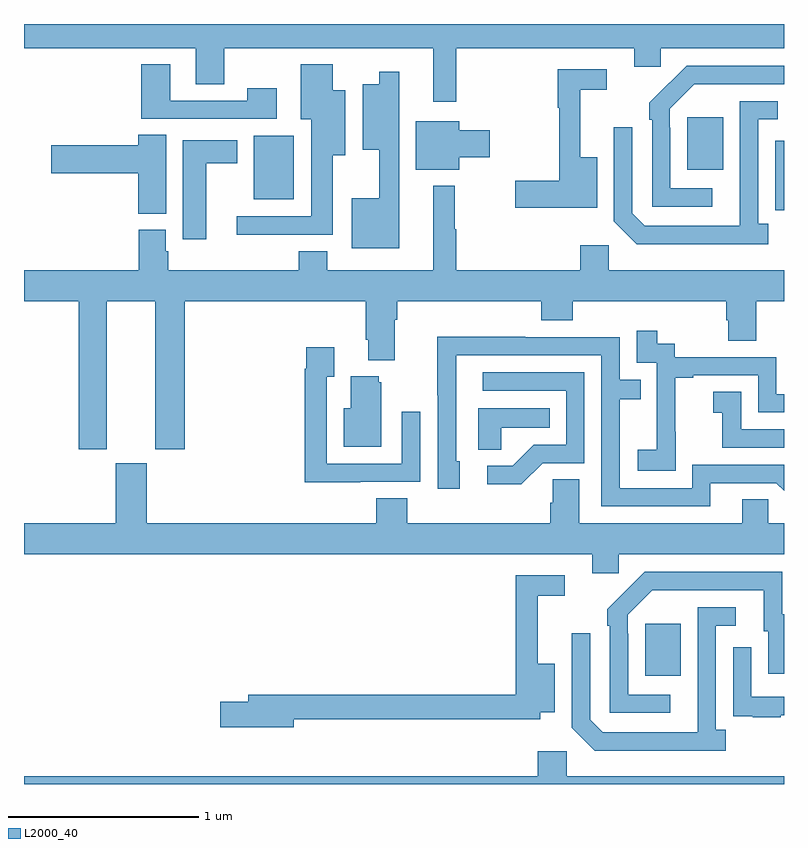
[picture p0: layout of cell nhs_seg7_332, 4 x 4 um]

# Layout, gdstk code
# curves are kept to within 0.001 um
import gdstk
lib = gdstk.Library(unit=1e-6, precision=1e-09)
def R(c, l, rs):  # rectangles x0, y0, x1, y1
    for r in rs: c.add(gdstk.rectangle(r[:2], r[2:], *l))
def P(c, l, *ps):  # polygons
    for p in ps: c.add(gdstk.Polygon(p, *l))
L2000_40 = (2000, 40)

nhs_seg7_332 = lib.new_cell('nhs_seg7_332')
R(nhs_seg7_332, L2000_40, [(138.269,1074.569,138.457,1074.844), (136.208,1077.077,136.42,1077.412), (138.491,1077.233,138.679,1077.508)])
P(nhs_seg7_332, L2000_40, [(135,1077.872),(135.905,1077.872),(135.905,1077.682),(136.053,1077.682),(136.053,1077.872),(137.153,1077.872),(137.153,1077.591),(137.275,1077.591),(137.275,1077.872),(138.212,1077.872),(138.212,1077.774),(138.351,1077.774),(138.351,1077.872),(139,1077.872),(139,1078),(135,1078)],
  [(136.624,1077.308),(136.69,1077.308),(136.69,1077.652),(136.624,1077.652),(136.624,1077.787),(136.457,1077.787),(136.457,1077.5),(136.511,1077.5),(136.511,1076.988),(136.119,1076.988),(136.119,1076.891),(136.624,1076.891)],
  [(136.33,1077.661),(136.174,1077.661),(136.174,1077.597),(135.769,1077.597),(135.769,1077.787),(135.617,1077.787),(135.617,1077.501),(136.33,1077.501)],
  [(138.622,1077.135),(138.402,1077.135),(138.402,1077.455),(138.399,1077.455),(138.399,1077.555),(138.528,1077.684),(139,1077.684),(139,1077.78),(138.488,1077.78),(138.291,1077.585),(138.291,1077.497),(138.306,1077.497),(138.306,1077.039),(138.622,1077.039)],
  [(138.016,1077.298),(137.927,1077.298),(137.927,1077.654),(138.067,1077.654),(138.067,1077.762),(137.809,1077.762),(137.809,1077.559),(137.817,1077.559),(137.817,1077.176),(137.586,1077.176),(137.586,1077.034),(138.016,1077.034)],
  [(136.975,1077.748),(136.871,1077.748),(136.871,1077.682),(136.784,1077.682),(136.784,1077.338),(136.871,1077.338),(136.871,1077.082),(136.724,1077.082),(136.724,1076.819),(136.975,1076.819)],
  [(138.916,1076.95),(138.864,1076.95),(138.864,1077.498),(138.967,1077.498),(138.967,1077.594),(138.768,1077.594),(138.767,1076.937),(138.267,1076.937),(138.201,1077.003),(138.201,1077.457),(138.105,1077.457),(138.105,1076.961),(138.226,1076.84),(138.916,1076.84)],
  [(137.29,1077.299),(137.452,1077.299),(137.452,1077.441),(137.29,1077.441),(137.29,1077.487),(137.063,1077.487),(137.063,1077.233),(137.29,1077.233)],
  [(135.748,1077.416),(135.602,1077.416),(135.602,1077.362),(135.144,1077.362),(135.144,1077.215),(135.602,1077.215),(135.602,1077.001),(135.748,1077.001)],
  [(135.958,1077.266),(136.123,1077.266),(136.123,1077.388),(135.836,1077.388),(135.836,1076.868),(135.958,1076.868)],
  [(139,1077.385),(138.954,1077.385),(138.954,1077.13),(138.955,1077.13),(138.955,1077.021),(139,1077.021)],
  [(136.799,1076.338),(136.811,1076.338),(136.811,1076.231),(136.951,1076.231),(136.951,1076.444),(136.964,1076.444),(136.964,1076.54),(137.723,1076.54),(137.723,1076.441),(137.888,1076.441),(137.888,1076.54),(138.695,1076.54),(138.695,1076.442),(138.707,1076.442),(138.707,1076.332),(138.855,1076.332),(138.855,1076.54),(139,1076.54),(139,1076.704),(138.078,1076.704),(138.078,1076.836),(137.927,1076.836),(137.927,1076.704),(137.275,1076.704),(137.275,1076.921),(137.267,1076.921),(137.267,1077.148),(137.153,1077.148),(137.153,1076.704),(136.597,1076.704),(136.597,1076.803),(136.445,1076.803),(136.445,1076.704),(135.758,1076.704),(135.758,1076.805),(135.745,1076.805),(135.745,1076.916),(135.605,1076.916),(135.605,1076.704),(135,1076.704),(135,1076.54),(135.289,1076.54),(135.289,1075.761),(135.436,1075.761),(135.436,1076.54),(135.692,1076.54),(135.692,1075.761),(135.845,1075.761),(135.845,1076.54),(136.799,1076.54)],
  [(138.429,1075.855),(138.428,1075.855),(138.428,1076.139),(138.523,1076.139),(138.523,1076.151),(138.864,1076.151),(138.864,1075.956),(139,1075.956),(139,1076.052),(138.96,1076.052),(138.96,1076.247),(138.426,1076.247),(138.426,1076.316),(138.334,1076.316),(138.334,1076.386),(138.225,1076.386),(138.225,1076.217),(138.33,1076.217),(138.33,1075.988),(138.329,1075.988),(138.329,1075.759),(138.231,1075.759),(138.231,1075.649),(138.429,1075.649)],
  [(138.613,1075.584),(138.96,1075.584),(139,1075.544),(139,1075.68),(138.516,1075.68),(138.516,1075.557),(138.135,1075.557),(138.135,1076.026),(138.245,1076.026),(138.245,1076.127),(138.135,1076.127),(138.135,1076.352),(137.639,1076.352),(137.639,1076.354),(137.176,1076.354),(137.176,1076.047),(137.178,1076.047),(137.178,1075.554),(137.293,1075.554),(137.293,1075.698),(137.274,1075.698),(137.274,1076.256),(138.039,1076.256),(138.039,1075.461),(138.613,1075.461)],
  [(136.769,1075.59),(137.085,1075.59),(137.085,1075.96),(136.989,1075.96),(136.989,1075.686),(136.593,1075.686),(136.593,1076.143),(136.633,1076.143),(136.633,1076.299),(136.485,1076.299),(136.485,1076.186),(136.477,1076.186),(136.477,1075.589),(136.769,1075.589)],
  [(137.73,1075.689),(137.949,1075.689),(137.949,1076.166),(137.415,1076.166),(137.415,1076.07),(137.853,1076.07),(137.853,1075.785),(137.684,1075.785),(137.573,1075.674),(137.439,1075.674),(137.439,1075.577),(137.617,1075.577)],
  [(136.879,1076.115),(136.868,1076.115),(136.868,1076.146),(136.721,1076.146),(136.721,1075.978),(136.682,1075.978),(136.682,1075.775),(136.879,1075.775)],
  [(139,1075.866),(138.774,1075.866),(138.774,1076.065),(138.627,1076.065),(138.627,1075.955),(138.676,1075.955),(138.676,1075.77),(139,1075.77)],
  [(137.511,1075.874),(137.768,1075.874),(137.768,1075.978),(137.39,1075.978),(137.39,1075.759),(137.511,1075.759)],
  [(138.129,1075.208),(139,1075.208),(139,1075.372),(138.918,1075.372),(138.918,1075.499),(138.779,1075.499),(138.779,1075.372),(137.923,1075.372),(137.923,1075.604),(137.784,1075.604),(137.784,1075.481),(137.771,1075.481),(137.771,1075.372),(137.018,1075.372),(137.018,1075.505),(136.853,1075.505),(136.853,1075.372),(135.646,1075.372),(135.646,1075.689),(135.482,1075.689),(135.482,1075.372),(135,1075.372),(135,1075.208),(137.99,1075.208),(137.99,1075.11),(138.129,1075.11)],
  [(138.4,1074.471),(138.18,1074.471),(138.18,1074.791),(138.177,1074.791),(138.177,1074.891),(138.306,1075.02),(138.893,1075.02),(138.893,1074.804),(138.917,1074.804),(138.917,1074.579),(139,1074.579),(139,1074.894),(138.99,1074.894),(138.99,1075.116),(138.266,1075.116),(138.069,1074.921),(138.069,1074.833),(138.084,1074.833),(138.084,1074.375),(138.4,1074.375)],
  [(136.42,1074.342),(137.718,1074.342),(137.718,1074.377),(137.794,1074.377),(137.794,1074.634),(137.705,1074.634),(137.705,1074.99),(137.845,1074.99),(137.845,1075.098),(137.587,1075.098),(137.587,1074.47),(136.181,1074.47),(136.181,1074.434),(136.032,1074.434),(136.032,1074.299),(136.42,1074.299)],
  [(138.694,1074.286),(138.642,1074.286),(138.642,1074.834),(138.745,1074.834),(138.745,1074.93),(138.546,1074.93),(138.545,1074.273),(138.045,1074.273),(137.979,1074.339),(137.979,1074.793),(137.883,1074.793),(137.883,1074.297),(138.004,1074.176),(138.694,1074.176)],
  [(138.983,1074.363),(139,1074.363),(139,1074.459),(138.828,1074.459),(138.828,1074.721),(138.732,1074.721),(138.732,1074.466),(138.733,1074.466),(138.733,1074.357),(138.835,1074.357),(138.835,1074.351),(138.983,1074.351)],
  [(139,1074.04),(137.856,1074.04),(137.856,1074.172),(137.705,1074.172),(137.705,1074.04),(135,1074.04),(135,1074),(139,1074)])

lib.write_gds('nhs_seg7_332.gds')
